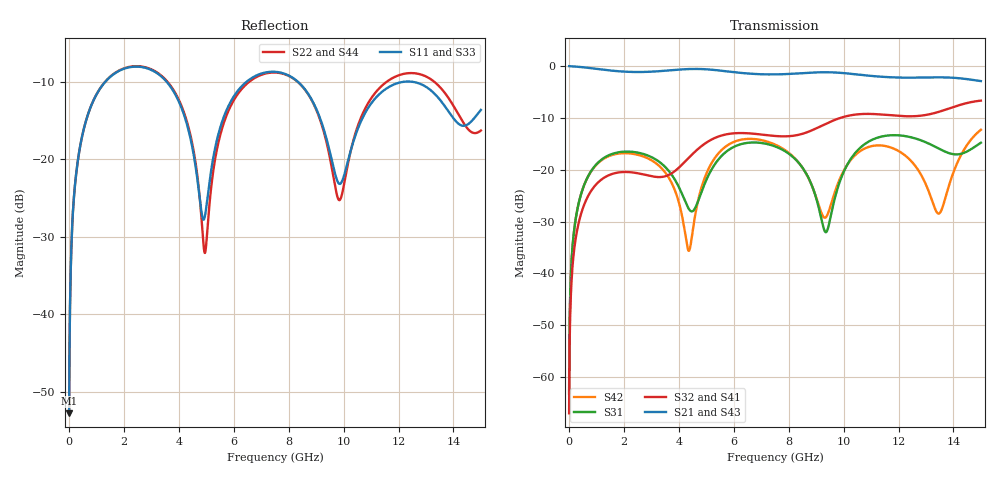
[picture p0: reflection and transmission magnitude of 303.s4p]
! Created with skrf 1.8.0 (http://scikit-rf.org).
# GHz S RI R 50.0
!freq ReS11 ImS11 ReS12 ImS12 ReS13 ImS13
! ReS14 ImS14
! ReS21 ImS21 ReS22 ImS22 ReS23 ImS23
! ReS24 ImS24
! ReS31 ImS31 ReS32 ImS32 ReS33 ImS33
! ReS34 ImS34
! ReS41 ImS41 ReS42 ImS42 ReS43 ImS43
! ReS44 ImS44
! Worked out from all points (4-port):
!   2499 points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, 5 MHz to 15 GHz, reference 50 ohm
!   strongest paths, dB at 5 MHz, 3.476 GHz, 7.19 GHz, 11.1 GHz, 15 GHz:
!     S21: 0.0, -0.9, -1.6, -1.9, -2.9
!     S43: 0.0, -0.9, -1.6, -1.9, -2.9
!     S32: -67.0, -21.3, -13.3, -9.3, -6.7
!     S41: -67.0, -21.3, -13.3, -9.3, -6.6
!     S31: -63.1, -19.3, -15.0, -14.1, -14.8
!     S42: -63.1, -20.3, -14.5, -15.4, -12.3
!   lowest |S11| = -52.8 dB at 5 MHz (marker M1), VSWR 1.00, Z = 50.2 + j0.14 ohm
!   |S11| at or under -10 dB: 3.554 GHz to 6.469 GHz (2.916 GHz wide, 58.2 % of centre); 8.333 GHz to 12.22 GHz (3.884 GHz wide, 37.8 % of centre); 12.48 GHz to end of sweep (the widest 3 of 4)
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0.005  0.00182 0.00139  0.9981 -0.00355  9.11e-05 0.00069  -8.86e-05 -0.000438
       0.9981 -0.00355  0.00182 0.00139  -8.86e-05 -0.000438  9.09e-05 0.00069
       9.11e-05 0.00069  -8.86e-05 -0.000438  0.00182 0.00139  0.9981 -0.00355
       -8.86e-05 -0.000438  9.09e-05 0.00069  0.9981 -0.00355  0.00182 0.00139
0.3626511  0.0361 0.1029  0.95 -0.2526  0.0172 0.0457  -0.0139 -0.0283
           0.95 -0.2526  0.0363 0.1029  -0.0139 -0.0283  0.0162 0.046
           0.0172 0.0457  -0.0139 -0.0283  0.0361 0.1029  0.95 -0.2526
           -0.0139 -0.0283  0.0162 0.046  0.95 -0.2526  0.0363 0.1029
1.77574  0.3422 0.1341  0.3637 -0.8154  0.1455 0.0205  -0.0911 0.0227
         0.3637 -0.8154  0.3455 0.1305  -0.0911 0.0227  0.1377 0.0383
         0.1455 0.0205  -0.0911 0.0227  0.3422 0.1341  0.3637 -0.8154
         -0.0911 0.0227  0.1377 0.0383  0.3637 -0.8154  0.3455 0.1305
4.949545  0.0416 0.00996  -0.9322 -0.0365  -0.021 0.071  -0.00183 0.1787
          -0.9322 -0.0365  0.0248 -0.00144  -0.00193 0.1788  0.0341 0.0773
          -0.021 0.071  -0.00193 0.1788  0.0407 0.0105  -0.9323 -0.0362
          -0.00183 0.1787  0.0341 0.0773  -0.9323 -0.0362  0.0258 -0.000857
7.41559  0.3666 -0.00437  -0.0947 0.8256  0.1595 -0.0625  0.2075 -0.046
         -0.0947 0.8256  0.3623 0.00335  0.2077 -0.0461  0.1638 -0.0723
         0.1595 -0.0625  0.2077 -0.0461  0.3684 -0.00328  -0.0944 0.8248
         0.2075 -0.046  0.1638 -0.0723  -0.0944 0.8248  0.3645 0.00237
10.16674  0.0848 0.0501  0.8464 -0.0486  0.057 0.1009  -0.037 -0.329
          0.8464 -0.0486  0.0714 0.0625  -0.0368 -0.3295  0.029 0.1113
          0.057 0.1009  -0.0368 -0.3295  0.0815 0.0484  0.8465 -0.0483
          -0.037 -0.329  0.029 0.1113  0.8465 -0.0483  0.0748 0.0598
15  0.2023 0.0479  -0.7131 -0.0691  -0.0256 0.1805  -0.0273 0.4651
    -0.7131 -0.0691  0.1531 -0.00184  -0.0265 0.4637  0.0448 0.2389
    -0.0256 0.1805  -0.0265 0.4637  0.2091 0.0439  -0.7128 -0.0696
    -0.0273 0.4651  0.0448 0.2389  -0.7128 -0.0696  0.1475 -0.00727
